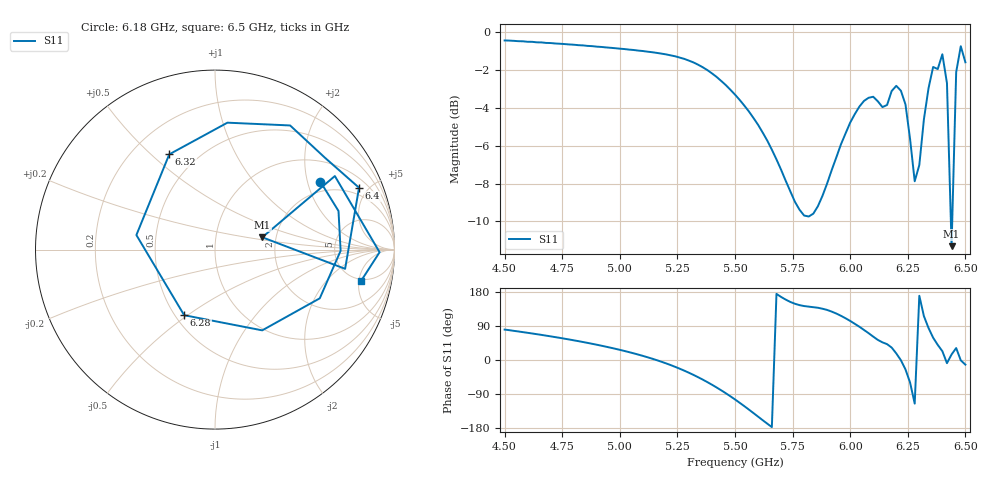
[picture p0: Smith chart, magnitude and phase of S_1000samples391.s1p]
! TOUCHSTONE file generated by CST MICROWAVE STUDIO
! Date and time: Fri Oct 28 00:22:44 2022
! Project name: L.cst
! Parameters = {Di=1.27; Epsilon_r=1.56; InnerDiameter=1.27; Length=2; Lf=10; Lg=60; OuterConductorThickness=0.2921; OuterDiameter=3.6; Wf=3; Wp=41.2; de=1.5; df=6.8; g=0.8; gx=4.5085; gy=1.38575; h=2.34; hf=1.524; px=9.71962; py=13.1319; w=9.7; wx=5.21112; wy=11.7462}
! Header version: 2018
! Port assignment regex: !\s*Touchstone port\s*([0-9]+)\s*=\s*(CST MWS port|CST DS port)\s*([0-9]+|Zmin|Zmax)\s*\(\"(.*)\"\)(\s*mode\s*([0-9]+))?.*
! Touchstone port assignment:
! Touchstone port 1 = CST MWS port 1 ("")
# GHz S DB R 50
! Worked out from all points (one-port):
!   101 points, 4.5 GHz to 6.5 GHz, reference 50 ohm
!   lowest |S11| = -11.3 dB at 6.44 GHz (marker M1), VSWR 1.75, Z = 84.6 + j12.5 ohm
!   |S11| at or under -10 dB: 6.436972 GHz to 6.442836 GHz (5.864 MHz wide, 0.0911 % of centre)
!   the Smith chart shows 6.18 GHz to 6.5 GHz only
!   S11 on the Smith chart (normalised r, x): 6.18 GHz: 1.63, +2.41; 6.28 GHz: 0.56, -0.49; 6.32 GHz: 0.35, +0.57; 6.4 GHz: 1.50, +4.37; 6.5 GHz: 4.66, -5.33
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4.5  -0.45 80.2
4.76  -0.64 56.2
5  -0.88 26.8
5.14  -1.07 3.6
5.26  -1.35 -22.9
5.4  -2.19 -65.2
5.5  -3.30 -104.1
5.62  -5.30 -158.8
5.7  -7.27 166.4
5.76  -8.96 148.4
5.88  -8.64 135.2
6  -4.78 103.1
6.08  -3.47 70.7
6.18  -3.12 32.8
6.22  -3.10 -0.5
6.24  -3.83 -24.9
6.26  -5.66 -59.7
6.28  -7.88 -115.2
6.3  -7.02 169.5
6.32  -4.60 115.6
6.34  -2.97 84.4
6.36  -1.85 58.8
6.4  -1.18 23.3
6.42  -2.70 -8.4
6.44  -11.30 14.6
6.46  -2.12 31.5
6.48  -0.75 -0.9
6.5  -1.60 -12.2
